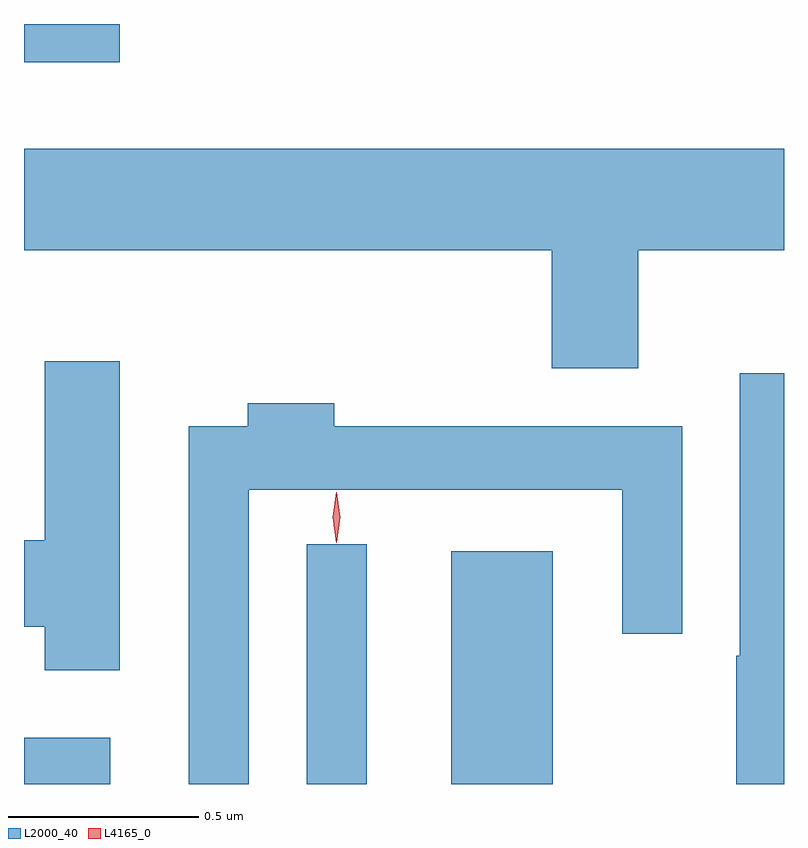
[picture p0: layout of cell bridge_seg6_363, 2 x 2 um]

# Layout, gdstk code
import gdstk
lib = gdstk.Library(unit=1e-6, precision=1e-09)
def R(c, l, rs):  # rectangles x0, y0, x1, y1
    for r in rs: c.add(gdstk.rectangle(r[:2], r[2:], *l))
def P(c, l, *ps):  # polygons
    for p in ps: c.add(gdstk.Polygon(p, *l))
L2000_40 = (2000, 40)
L4165_0 = (4165, 0)

bridge_seg6_363 = lib.new_cell('bridge_seg6_363')
R(bridge_seg6_363, L2000_40, [(1297.122,1555.292,1297.349,1555.414), (1297.866,1555.292,1298.024,1555.923), (1298.246,1555.292,1298.514,1555.904), (1297.122,1557.191,1297.374,1557.292)])
P(bridge_seg6_363, L2000_40, [(1298.739,1556.696),(1299.122,1556.696),(1299.122,1556.964),(1297.122,1556.964),(1297.122,1556.696),(1298.511,1556.696),(1298.511,1556.386),(1298.739,1556.386)],
  [(1297.374,1556.404),(1297.176,1556.404),(1297.176,1555.934),(1297.122,1555.934),(1297.122,1555.706),(1297.176,1555.706),(1297.176,1555.591),(1297.374,1555.591)],
  [(1299.122,1556.373),(1299.006,1556.373),(1299.006,1555.63),(1298.996,1555.63),(1298.996,1555.292),(1299.122,1555.292)],
  [(1297.714,1556.066),(1298.696,1556.066),(1298.696,1555.688),(1298.854,1555.688),(1298.854,1556.234),(1297.939,1556.234),(1297.939,1556.294),(1297.711,1556.294),(1297.711,1556.234),(1297.556,1556.234),(1297.556,1555.292),(1297.714,1555.292)])
P(bridge_seg6_363, L4165_0, [(1297.944,1555.927),(1297.934,1555.994),(1297.944,1556.06),(1297.944,1556.06),(1297.945,1556.06),(1297.954,1555.994),(1297.945,1555.927),(1297.945,1555.927)])

lib.write_gds('bridge_seg6_363.gds')
